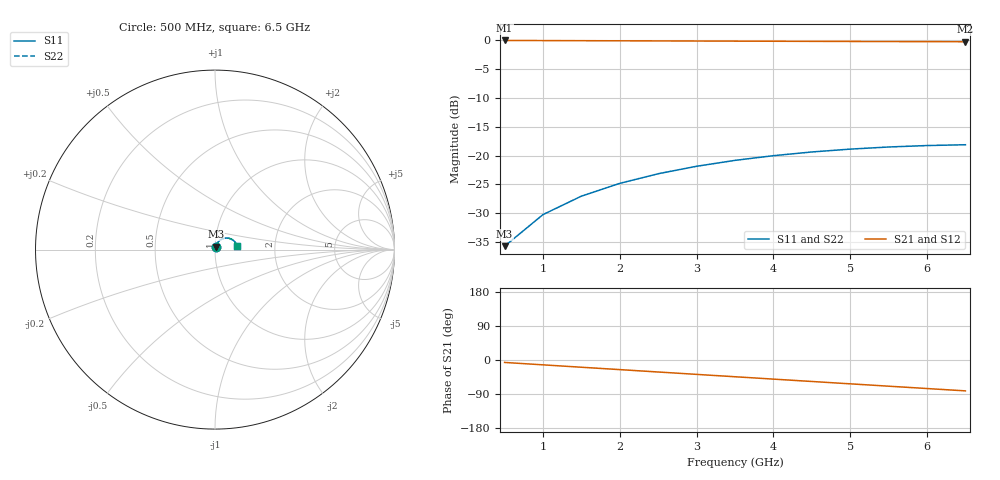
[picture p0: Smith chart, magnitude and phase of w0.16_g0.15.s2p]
! Sonnet Data File
! From: em Version : 19.54.2026
! From Project: w0.16_g0.15
! Data is De-embedded
! Data File Written: 11/09/2026 23:41:52
!< HDATE 11/09/2026 23:41:11
!< MDATE 11/09/2026 23:41:11
# GHZ S RI R 50.00000
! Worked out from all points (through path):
!   13 points, 500 MHz to 6.5 GHz, reference 50 ohm
!   highest |S21| = -0.03 dB at 500 MHz (marker M1); lowest = -0.3 dB at 6.5 GHz (marker M2)
!   group delay of S21, straight-line fit = 34.7 ps
!   lowest |S11| = -35.7 dB at 500 MHz (marker M3), VSWR 1.03, Z = 50.3 + j1.61 ohm
!   |S11| at or under -10 dB: start of sweep to end of sweep
!   |S22| runs from -35.7 to -18.1 dB; largest |S21 - S12| = 1.3e-12
0.5  0.00357 0.016  0.9902 -0.1116  0.9902 -0.1116  0.00357 0.016
1  0.00877 0.0295  0.9695 -0.2197  0.9695 -0.2197  0.00877 0.0295
1.5  0.0164 0.0413  0.9374 -0.3243  0.9374 -0.3243  0.0164 0.0413
2  0.0263 0.0511  0.8941 -0.4243  0.8941 -0.4243  0.0263 0.0511
2.5  0.0379 0.0584  0.8404 -0.5185  0.8404 -0.5185  0.0379 0.0584
3  0.0506 0.0629  0.7769 -0.6058  0.7769 -0.6058  0.0506 0.0629
3.5  0.0639 0.0646  0.7046 -0.6853  0.7046 -0.6853  0.0639 0.0646
4  0.0772 0.0633  0.6246 -0.7562  0.6246 -0.7562  0.0772 0.0633
4.5  0.0897 0.0592  0.5377 -0.8177  0.5377 -0.8177  0.0897 0.0592
5  0.101 0.0524  0.445 -0.8693  0.445 -0.8693  0.101 0.0524
5.5  0.1104 0.0435  0.3478 -0.9106  0.3478 -0.9106  0.1104 0.0435
6  0.1177 0.0327  0.2471 -0.9411  0.2471 -0.9411  0.1177 0.0327
6.5  0.1224 0.0207  0.144 -0.9608  0.144 -0.9608  0.1224 0.0207
